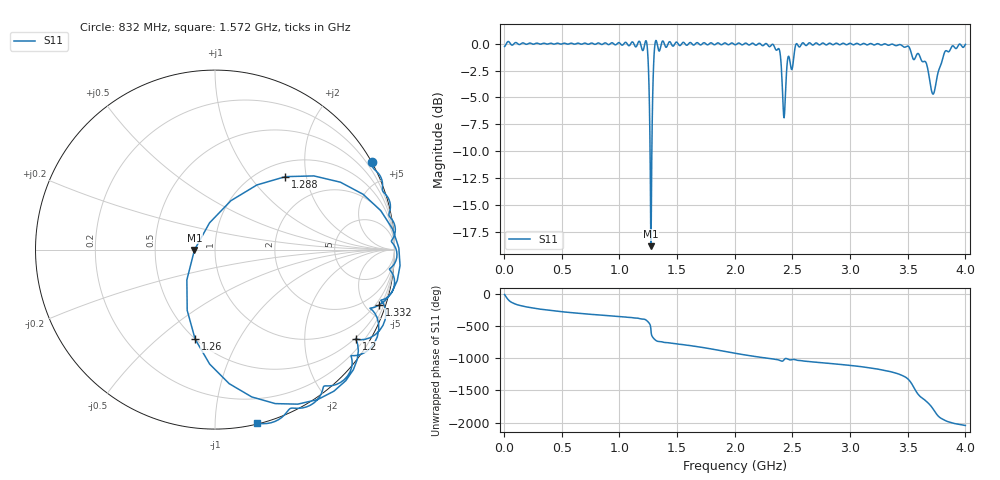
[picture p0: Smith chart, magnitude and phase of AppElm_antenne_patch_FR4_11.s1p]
! TOUCHSTONE file generated by CST MICROWAVE STUDIO
! Date and time: Tue Jun  7 20:03:50 2022
! Project name: AppElm_antenne_patch_FR4.cst
! Parameters = {L=56.25; W=58.5; e=0.035; h=1.6; lambda=0.190476; ls=120; w0=1.6; w1=0.533333; ws=120; y0=20; y1=23.8095}
! Header version: 2018
! Port assignment regex: !\s*Touchstone port\s*([0-9]+)\s*=\s*(CST MWS port|CST DS port)\s*([0-9]+|Zmin|Zmax)\s*\(\"(.*)\"\)(\s*mode\s*([0-9]+))?.*
! Touchstone port assignment:
! Touchstone port 1 = CST MWS port 1 ("")
# GHz S MA R 50
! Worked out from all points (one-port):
!   1000 points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, 4 MHz to 4 GHz, reference 50 ohm
!   lowest |S11| = -18.8 dB at 1.272 GHz (marker M1), VSWR 1.26, Z = 39.7 - j0.153 ohm
!   |S11| at or under -10 dB: 1.265 GHz to 1.281 GHz (15.61 MHz wide, 1.23 % of centre)
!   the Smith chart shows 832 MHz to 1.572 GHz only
!   S11 on the Smith chart (normalised r, x): 832 MHz: 0.00, +3.85; 1.2 GHz: 0.46, -3.39; 1.26 GHz: 0.50, -0.67; 1.288 GHz: 1.27, +1.52; 1.332 GHz: 0.65, -6.01; 1.572 GHz: 0.01, -1.27
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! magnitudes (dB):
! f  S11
! 4 MHz  -0.3
! 504 MHz  0.0
! 832 MHz  0.0
! 1.004 GHz  0.0
! 1.2 GHz  -0.6
! 1.236 GHz  0.1
! 1.244 GHz  -0.7
! 1.26 GHz  -5.8
! 1.272 GHz  -18.8
! 1.288 GHz  -5.0
! 1.3 GHz  -1.1
! 1.308 GHz  0.0
! 1.332 GHz  -0.3
! 1.504 GHz  0.1
! 1.572 GHz  -0.1
! 2.004 GHz  -0.1
! 2.372 GHz  -0.5
! 2.392 GHz  -0.8
! 2.428 GHz  -6.9
! 2.464 GHz  -1.2
! 2.504 GHz  -2.0
! 2.544 GHz  -0.1
! 3.004 GHz  0.0
! 3.504 GHz  -0.2
! 3.656 GHz  -1.7
! 3.72 GHz  -4.7
! 3.824 GHz  -0.7
! 4 GHz  -0.1
